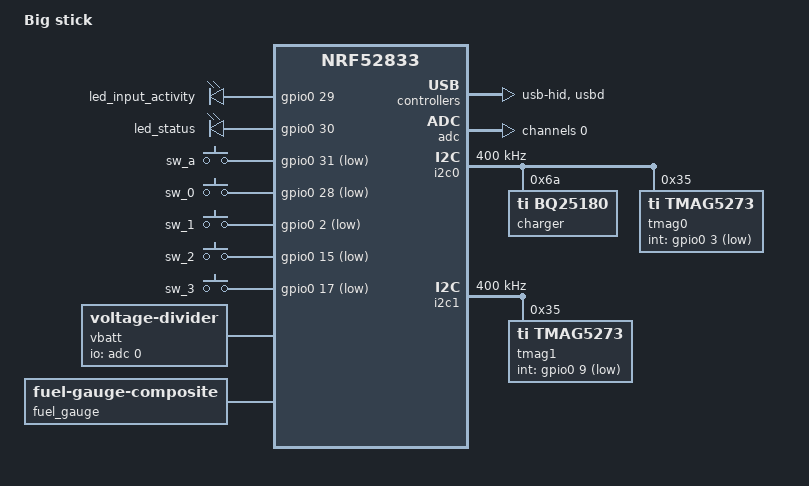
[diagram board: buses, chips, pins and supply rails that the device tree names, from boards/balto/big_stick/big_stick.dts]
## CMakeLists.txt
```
cmake_minimum_required(VERSION 3.20.0)

set(BOARD_ROOT ${CMAKE_CURRENT_LIST_DIR})
set(BOARD kbd_matrix)

find_package(Zephyr REQUIRED HINTS $ENV{ZEPHYR_BASE})
project(zephyr-input-hid)

zephyr_include_directories(include)

target_sources(app PRIVATE
	src/event.c
	src/main.c
	src/panic.c
	src/reboot.c
	src/watchdog.c
)

zephyr_linker_sources(ROM_SECTIONS src/event.ld)

target_sources_ifdef(CONFIG_BT app PRIVATE src/ble.c src/ble_shell.c)

target_sources_ifdef(CONFIG_APP_BAS_FUEL_GAUGE app PRIVATE src/bas_fuel_gauge.c)
target_sources_ifdef(CONFIG_APP_BAS_FUEL_GAUGE_SENSOR app PRIVATE src/bas_fuel_gauge_sensor.c)
target_sources_ifdef(CONFIG_APP_CHARGER app PRIVATE src/charger.c)
target_sources_ifdef(CONFIG_APP_CHARGER_GPIO app PRIVATE src/charger_gpio.c)
target_sources_ifdef(CONFIG_APP_AUTO_POWEROFF app PRIVATE src/auto_poweroff.c)
target_sources_ifdef(CONFIG_INPUT_ANALOG_AXIS app PRIVATE src/analog-axis-shell.c)

target_sources_ifdef(CONFIG_DT_HAS_HID_ENABLED app PRIVATE src/hid.c)
target_sources_ifdef(CONFIG_DT_HAS_HID_KBD_ENABLED app PRIVATE src/hid_kbd.c)
target_sources_ifdef(CONFIG_DT_HAS_HID_MOUSE_ENABLED app PRIVATE src/hid_mouse.c)
target_sources_ifdef(CONFIG_DT_HAS_HID_GAMEPAD_ENABLED app PRIVATE src/hid_gamepad.c)
target_sources_ifdef(CONFIG_DT_HAS_HID_HOG_ENABLED app PRIVATE src/ble_hog.c src/ble_hog_shell.c)
target_sources_ifdef(CONFIG_DT_HAS_USB_HID_ENABLED app PRIVATE src/usb_hid.c)
target_sources_ifdef(CONFIG_DT_HAS_BLE_UNPAIR_ENABLED app PRIVATE src/ble_unpair.c)
target_sources_ifdef(CONFIG_DT_HAS_XINPUT_ENABLED app PRIVATE src/xinput.c)
target_sources_ifdef(CONFIG_DT_HAS_TI_DRV8830_ENABLED app PRIVATE src/drv8830.c)
target_sources_ifdef(CONFIG_DT_HAS_PM_CONTROL_ENABLED app PRIVATE src/pm_control.c)

target_sources_ifdef(CONFIG_USB_DEVICE_STACK_NEXT app PRIVATE src/usbd.c)
```

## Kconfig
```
menu "Application"

config APP_MANUFACTURER_NAME
	string "Manufacturer name"
	default "Zephyr"

config APP_DEVICE_NAME
	string "Device name"
	default "zephyr-input"

config APP_VID
	hex "USB VID"
	default 0x2fe3

config APP_PID
	hex "USB PID"
	default 0x0007

config APP_BAS_FUEL_GAUGE
	bool "BAS fuel gauge support (subsys)"
	default y
	depends on "$(dt_nodelabel_enabled,fuel_gauge)"
	select SENSOR
	select FUEL_GAUGE
	select BT_BAS

config APP_BAS_FUEL_GAUGE_SENSOR
	bool "BAS fuel gauge support (sensor)"
	default y
	depends on "$(dt_nodelabel_enabled,fuel_gauge_sensor)"
	select SENSOR
	select BT_BAS

config APP_CHARGER
	bool "Charger support"
	default y
	depends on "$(dt_nodelabel_enabled,charger)"
	select CHARGER

config APP_CHARGER_GPIO
	bool "GPIO charger support"
	default y
	depends on "$(dt_nodelabel_enabled,charger_gpio)"

config APP_AUTO_POWEROFF
	bool "Auto power-off"
	default y
	depends on "$(dt_nodelabel_enabled,wkup)"
	select POWEROFF
	depends on BT

config APP_USB_REMOTE_WAKEUP
	bool "USB Remote Wakeup"
	depends on USB_DEVICE_STACK_NEXT

config APP_EVT_BLINK_TIMEOUT
	bool "Disable the activity blink after 1 minute"

config APP_BT_EMPTY_AD_BONDED
	bool "Send an empty ad when bonded"
	depends on BT

config APP_BT_DIRECTED_AD
	bool "Send an direct ad if there's only one bond"
	depends on BT

config APP_BT_DISCONNECT_BONDED
	bool "Disconnect unknown peers when fully bonded"
	default y
	depends on BT

if USB_DEVICE_STACK_NEXT

config APP_USB_MAX_POWER
        int "USB bMaxPower (2mA units)"
        default 250
        range 0 250

endif # USB_DEVICE_STACK_NEXT

endmenu

config FUEL_GAUGE_COMPOSITE
	select BT_BAS

configdefault PM_DEVICE_RUNTIME_DEFAULT_ENABLE
	default n

configdefault INPUT_SHELL
	default y

configdefault INPUT_EVENT_DUMP
	default y

configdefault INPUT_SHELL_KBD_MATRIX_STATE
	default y

configdefault I2C_SHELL
	default y

configdefault LED_SHELL
	default y

configdefault SETTINGS_SHELL
	default y

configdefault PM_DEVICE_SHELL
	default y

config SHELL_CMDS
	default n

config SHELL_CMDS_RETURN_VALUE
	default n

config DEVMEM_SHELL
	default n

config LOG_PROCESS_THREAD_SLEEP_MS
	default 100

configdefault MCUMGR_GRP_IMG_ALLOW_ERASE_PENDING
	default y

if BT

config BT_SMP
	default y

config BT_DEVICE_APPEARANCE
	default 964 if DT_HAS_HID_GAMEPAD_ENABLED
	default 961 if DT_HAS_HID_KBD_ENABLED
	default 962 if DT_HAS_HID_MOUSE_ENABLED

config BT_DEVICE_NAME
	default APP_DEVICE_NAME

config BT_PERIPHERAL
	default y

config BT_SETTINGS
	default y

config BT_PERIPHERAL_PREF_MIN_INT
	default 6

config BT_PERIPHERAL_PREF_MAX_INT
	default 6

config BT_PERIPHERAL_PREF_LATENCY
	default 30

config BT_PERIPHERAL_PREF_TIMEOUT
	default 500

config BT_CONN_PARAM_UPDATE_TIMEOUT
	default 1000

config BT_MAX_CONN
	default 1

config BT_MAX_PAIRED
	default 1

config BT_ASSERT
	default n

config BT_DIS_MANUF_NAME_STR
	default APP_MANUFACTURER_NAME

config BT_DIS_PNP_VID
	default APP_VID

config BT_DIS_PNP_PID
	default APP_PID

endif # BT

source "Kconfig.zephyr"
```

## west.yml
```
manifest:
  remotes:
    - name: zephyrproject-rtos
      url-base: https://github.com/zephyrproject-rtos

  projects:
    - name: zephyr
      remote: zephyrproject-rtos
      revision: main
      import:
        name-allowlist:
          - cmsis_6
          - hal_nordic
          - hal_nxp
          - hal_st
          - hal_stm32
          - mbedtls
          - mcuboot
          - segger
          - tf-psa-crypto
          - zcbor
```

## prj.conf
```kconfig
CONFIG_PM_DEVICE=y
CONFIG_PM_DEVICE_RUNTIME=y
CONFIG_GPIO=y
CONFIG_LOG=y
CONFIG_DEBUG_THREAD_INFO=y
CONFIG_COMPILER_TRACK_MACRO_EXPANSION=n
CONFIG_SYSTEM_WORKQUEUE_STACK_SIZE=1280
CONFIG_REBOOT=y
CONFIG_APPLICATION_DEFINED_SYSCALL=y

CONFIG_THREAD_NAME=y

CONFIG_SHELL=y
CONFIG_I2C=y
CONFIG_LED=y
CONFIG_FLASH=y
CONFIG_STREAM_FLASH=y
CONFIG_FLASH_MAP=y
CONFIG_NVS=y
CONFIG_SETTINGS=y
CONFIG_INPUT=y
CONFIG_WATCHDOG=y

CONFIG_INPUT_THREAD_PRIORITY_OVERRIDE=y
CONFIG_INPUT_THREAD_PRIORITY=-2

# Power saving

CONFIG_SERIAL=n
CONFIG_SHELL_BACKEND_SERIAL=n
CONFIG_UART_CONSOLE=n
CONFIG_CONSOLE=n
```

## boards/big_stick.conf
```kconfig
CONFIG_SHELL_BACKEND_RTT=y
CONFIG_SHELL_TAB=y
CONFIG_SHELL_VT100_COMMANDS=y
CONFIG_CONSOLE=y

CONFIG_APP_DEVICE_NAME="BigStick"

CONFIG_BT=y
CONFIG_APP_BT_EMPTY_AD_BONDED=y
CONFIG_USB_DEVICE_STACK=n
CONFIG_USB_DEVICE_STACK_NEXT=y
```

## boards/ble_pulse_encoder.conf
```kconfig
CONFIG_SYSTEM_WORKQUEUE_STACK_SIZE=2048
CONFIG_LOG=n
CONFIG_SHELL_MINIMAL=y
CONFIG_SHELL_VT100_COMMANDS=n

CONFIG_I2C_SHELL=n
CONFIG_INPUT_SHELL=n
CONFIG_LED_SHELL=n
CONFIG_SETTINGS_SHELL=n
CONFIG_PM_DEVICE_SHELL=n

CONFIG_APP_DEVICE_NAME="BLE Pulse Encoder"

CONFIG_BT=y
CONFIG_APP_BT_DISCONNECT_BONDED=n

# MCUmgr

CONFIG_ROM_END_OFFSET=0x2000
CONFIG_MCUBOOT_UPDATE_FOOTER_SIZE=0x2000

CONFIG_MCUBOOT_SIGNATURE_KEY_FILE="../git/zephyr-input-hid/keys/ble-pulse-encoder-key.pem"

CONFIG_ZCBOR=y
CONFIG_MCUMGR=y
CONFIG_BOOTLOADER_MCUBOOT=y
CONFIG_THREAD_MONITOR=y
CONFIG_MCUMGR_GRP_OS=y
CONFIG_MCUMGR_GRP_OS_ECHO=n
CONFIG_MCUMGR_GRP_OS_TASKSTAT=n
CONFIG_MCUMGR_GRP_SHELL=y
CONFIG_SHELL_BACKEND_DUMMY=y
CONFIG_SHELL_BACKEND_DUMMY_BUF_SIZE=1536
CONFIG_MCUBOOT_SHELL=y

CONFIG_MCUMGR_GRP_IMG=y
CONFIG_MCUMGR_GRP_ZBASIC=y
CONFIG_MCUMGR_GRP_ZBASIC_STORAGE_ERASE=y
CONFIG_IMG_MANAGER=y

CONFIG_BT_L2CAP_TX_MTU=498
CONFIG_BT_BUF_ACL_RX_SIZE=502
CONFIG_BT_BUF_ACL_TX_SIZE=502
CONFIG_BT_CTLR_DATA_LENGTH_MAX=251

CONFIG_MCUMGR_TRANSPORT_BT=y
CONFIG_MCUMGR_TRANSPORT_BT_PERM_RW=y
CONFIG_MCUMGR_TRANSPORT_BT_CONN_PARAM_CONTROL=y

CONFIG_MCUMGR_TRANSPORT_BT_REASSEMBLY=y
CONFIG_MCUMGR_TRANSPORT_NETBUF_SIZE=2475
```

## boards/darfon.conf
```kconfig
CONFIG_APP_DEVICE_NAME="ZDarfon"
CONFIG_PWM=y
CONFIG_USB_DEVICE_STACK_NEXT=y
CONFIG_APP_USB_REMOTE_WAKEUP=y
CONFIG_PM_DEVICE_RUNTIME=n
CONFIG_WATCHDOG=n

CONFIG_APP_VID=0x0d62
CONFIG_APP_PID=0x001c
```

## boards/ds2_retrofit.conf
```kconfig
CONFIG_SYSTEM_WORKQUEUE_STACK_SIZE=2048
CONFIG_LOG=n
CONFIG_SHELL_MINIMAL=y
CONFIG_SHELL_VT100_COMMANDS=n

CONFIG_CONSOLE=y
CONFIG_SHELL_BACKEND_RTT=y

CONFIG_I2C_SHELL=n
CONFIG_INPUT_SHELL=n
CONFIG_LED_SHELL=n
CONFIG_SETTINGS_SHELL=n
CONFIG_PM_DEVICE_SHELL=n

CONFIG_APP_DEVICE_NAME="DualShock 2"

CONFIG_PWM=y

CONFIG_BT=y
CONFIG_BT_MAX_PAIRED=2
CONFIG_BT_PERIPHERAL_PREF_MIN_INT=6
CONFIG_BT_PERIPHERAL_PREF_MAX_INT=12
CONFIG_REGULATOR=y

# MCUmgr

#CONFIG_ROM_END_OFFSET=0x2000
#CONFIG_MCUBOOT_UPDATE_FOOTER_SIZE=0x2000
#
#CONFIG_MCUBOOT_SIGNATURE_KEY_FILE="../git/zephyr-input-hid/keys/ds2-retrofit-key.pem"
#
#CONFIG_ZCBOR=y
#CONFIG_MCUMGR=y
#CONFIG_BOOTLOADER_MCUBOOT=y
#CONFIG_THREAD_MONITOR=y
#CONFIG_MCUMGR_GRP_OS=y
#CONFIG_MCUMGR_GRP_OS_ECHO=n
#CONFIG_MCUMGR_GRP_OS_TASKSTAT=n
#CONFIG_MCUMGR_GRP_SHELL=y
#CONFIG_SHELL_BACKEND_DUMMY=y
#CONFIG_SHELL_BACKEND_DUMMY_BUF_SIZE=1536
#CONFIG_MCUBOOT_SHELL=y
#
#CONFIG_MCUMGR_GRP_IMG=y
#CONFIG_MCUMGR_GRP_ZBASIC=y
#CONFIG_MCUMGR_GRP_ZBASIC_STORAGE_ERASE=y
#CONFIG_IMG_MANAGER=y
#
#CONFIG_BT_L2CAP_TX_MTU=498
#CONFIG_BT_BUF_ACL_RX_SIZE=502
#CONFIG_BT_BUF_ACL_TX_SIZE=502
#CONFIG_BT_CTLR_DATA_LENGTH_MAX=251
#
#CONFIG_MCUMGR_TRANSPORT_BT=y
#CONFIG_MCUMGR_TRANSPORT_BT_PERM_RW=y
#CONFIG_MCUMGR_TRANSPORT_BT_CONN_PARAM_CONTROL=y
#
#CONFIG_MCUMGR_TRANSPORT_BT_REASSEMBLY=y
#CONFIG_MCUMGR_TRANSPORT_NETBUF_SIZE=2475
```

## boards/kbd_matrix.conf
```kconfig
CONFIG_SHELL_BACKEND_RTT=y
CONFIG_SHELL_TAB=y
CONFIG_SHELL_VT100_COMMANDS=y
CONFIG_CONSOLE=y

CONFIG_APP_DEVICE_NAME="kbd-matrix"

CONFIG_BT=y
CONFIG_APP_BT_EMPTY_AD_BONDED=y
```

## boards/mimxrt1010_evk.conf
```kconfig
CONFIG_SERIAL=y
CONFIG_SHELL_BACKEND_SERIAL=y
CONFIG_CONSOLE=y
CONFIG_UART_CONSOLE=y

CONFIG_USB_DEVICE_STACK=n
CONFIG_USB_DEVICE_STACK_NEXT=y

#CONFIG_APP_VID=0x045e
#CONFIG_APP_PID=0x028e
```

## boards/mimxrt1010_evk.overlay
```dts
#include <dt-bindings/hid.h>

/ {
	buttons: gpio_keys {
		button-1 {
			zephyr,code = <INPUT_BTN_WEST>;
		};
	};

	aa: analog_axis {
		compatible = "analog-axis";
		poll-period-ms = <1>;
		axis-x {
			io-channels = <&adc1 1>;
			in-min = <90>;
			in-max = <900>;
			in-deadzone = <50>;
			zephyr,axis = <INPUT_ABS_X>;
		};
	};

	hid {
		compatible = "hid";
		input {
			hid-gamepad {
				compatible = "hid-gamepad";
				input = <&buttons &aa>;
				input-id = <1>;
				report = <HID_GAMEPAD_REPORT(1)>;
			};
		};
		output {
			usb-hid {
				compatible = "usb-hid";
				usb-hid-dev = <&hid_dev_0>;
			};
		};
	};

	hid_dev_0: hid_dev_0 {
		compatible = "zephyr,hid-device";
		label = "HID0";
		in-report-size = <16>;
		in-polling-period-us = <125>;
		out-report-size = <8>;
		out-polling-period-us = <5000>;
	};

	xinput0 {
		compatible = "xinput";
		input = <&buttons>;
	};

	pm-control {
		compatible = "pm-control";
		always-on = <&buttons>;
		connect-on = <&buttons>;
	};
};

led_input_activity: &green_led {};

&adc1 {
	#address-cells = <1>;
	#size-cells = <0>;

	channel@1 {
		reg = <1>;
		zephyr,gain = "ADC_GAIN_1";
		zephyr,reference = "ADC_REF_INTERNAL";
		zephyr,acquisition-time = <ADC_ACQ_TIME_DEFAULT>;
		zephyr,resolution = <10>;
	};
};
```

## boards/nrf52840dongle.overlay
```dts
#include <dt-bindings/hid.h>

/ {
	buttons: buttons {
		button_0 {
			zephyr,code = <INPUT_KEY_A>;
		};
	};

	hid {
		compatible = "hid";
		input {
			hid-kbd {
				compatible = "hid-kbd";
				input = <&buttons>;
				input-id = <1>;
				output-id = <1>;
				report = <HID_KBD_REPORT(1, 1)>;
			};
			hid-mouse {
				compatible = "hid-mouse";
				input = <&buttons>;
				input-id = <2>;
				report = <HID_MOUSE_REPORT(2)>;
			};
		};
		output {
			usb-hid {
				compatible = "usb-hid";
				usb-hid-dev = <&hid_dev_0>;
			};
		};
	};

	hid1 {
		compatible = "hid";
		input {
			hid-gamepad {
				compatible = "hid-gamepad";
				input = <&buttons>;
				input-id = <1>;
				report = <HID_GAMEPAD_REPORT(1)>;
			};
		};
		output {
			usb-hid {
				compatible = "usb-hid";
				usb-hid-dev = <&hid_dev_1>;
			};
		};
	};

	hid_dev_0: hid_dev_0 {
		compatible = "zephyr,hid-device";
		label = "HID0";
		protocol-code = "keyboard";
		in-report-size = <16>;
		in-polling-period-us = <2000>;
		out-report-size = <8>;
		out-polling-period-us = <5000>;
	};

	hid_dev_1: hid_dev_1 {
		compatible = "zephyr,hid-device";
		label = "HID1";
		in-report-size = <32>;
		in-polling-period-us = <1000>;
	};

	xinput0 {
		compatible = "xinput";
		input = <&buttons>;
	};

	xinput1 {
		compatible = "xinput";
		input = <&buttons>;
	};

	pm-control {
		compatible = "pm-control";
		always-on = <&buttons>;
		connect-on = <&buttons>;
	};
};

led_input_activity: &led1_red {};
```

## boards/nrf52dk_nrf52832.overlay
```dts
#include <dt-bindings/hid.h>

/ {
	buttons: buttons {
		wkup: button_0 {
			zephyr,code = <INPUT_KEY_A>;
		};
		button_1 {
			zephyr,code = <INPUT_BTN_NORTH>;
		};
		/delete-node/ button_2;
		/delete-node/ button_3;
	};

	buttons_2: buttons2 {
		compatible = "gpio-keys";
		button2: button_2 {
			gpios = <&gpio0 15 (GPIO_PULL_UP | GPIO_ACTIVE_LOW)>;
			zephyr,code = <INPUT_BTN_LEFT>;
		};
		button3: button_3 {
			gpios = <&gpio0 16 (GPIO_PULL_UP | GPIO_ACTIVE_LOW)>;
			zephyr,code = <INPUT_BTN_NORTH>;
		};
	};

	ble-unpair {
		compatible = "ble-unpair";
		key-a = <INPUT_KEY_A>;
		key-b = <INPUT_BTN_LEFT>;
	};

	hid {
		compatible = "hid";
		input {
			hid-kbd {
				compatible = "hid-kbd";
				input = <&buttons>;
				input-id = <1>;
				output-id = <1>;
				report = <HID_KBD_REPORT(1, 1)>;
			};
			hid-mouse {
				compatible = "hid-mouse";
				input = <&buttons_2>;
				input-id = <2>;
				report = <HID_MOUSE_REPORT(2)>;
			};
		};
		output {
			hid-hog {
				compatible = "hid-hog";
			};
		};
	};

	hid2 {
		compatible = "hid";
		input {
			hid-gamepad {
				compatible = "hid-gamepad";
				input = <&buttons>;
				input-id = <1>;
				report = <HID_GAMEPAD_REPORT(1)>;
			};
		};
		output {
			hid-hog-2 {
				compatible = "hid-hog";
			};
		};
	};

	hid3 {
		compatible = "hid";
		input {
			hid-gamepad {
				compatible = "hid-gamepad";
				input = <&buttons_2>;
				input-id = <1>;
				report = <HID_GAMEPAD_REPORT(1)>;
			};
		};
		output {
			hid-hog-3 {
				compatible = "hid-hog";
			};
		};
	};

	pm-control {
		compatible = "pm-control";
		always-on = <&buttons>;
		connect-on = <&buttons_2>;
	};
};

led_status: &led0 {};
led_input_activity: &led1 {};

&i2c0 {
	status = "disabled";
};

&spi2_default {
	group1 {
		psels = <NRF_PSEL(SPIM_SCK, 0, 27)>,
			<NRF_PSEL(SPIM_MOSI, 0, 26)>,
			<NRF_PSEL(SPIM_MISO, 0, 26)>;
	};
};

&spi2_sleep {
	group1 {
		psels = <NRF_PSEL(SPIM_SCK, 0, 27)>,
			<NRF_PSEL(SPIM_MOSI, 0, 26)>,
			<NRF_PSEL(SPIM_MISO, 0, 26)>;
	};
};
```

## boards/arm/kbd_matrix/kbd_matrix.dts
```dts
/dts-v1/;
#include <nordic/nrf52832_qfaa.dtsi>
#include <zephyr/dt-bindings/input/input-event-codes.h>
#include <zephyr/dt-bindings/input/keymap.h>
#include "kbd_matrix-pinctrl.dtsi"

/ {
	model = "kbd-matrix";
	compatible = "balto,kbd-matrix";

	chosen {
		zephyr,console = &uart0;
		zephyr,shell-uart = &uart0;
		zephyr,uart-mcumgr = &uart0;
		zephyr,sram = &sram0;
		zephyr,flash = &flash0;
		zephyr,code-partition = &slot0_partition;
	};

	leds {
		compatible = "gpio-leds";
		led_a {
			gpios = <&gpio0 8 GPIO_ACTIVE_HIGH>;
		};
	};

	kbd-matrix {
		compatible = "gpio-kbd-matrix";
		row-gpios = <&gpio0 14 (GPIO_PULL_UP | GPIO_ACTIVE_LOW)>,
			    <&gpio0 17 (GPIO_PULL_UP | GPIO_ACTIVE_LOW)>,
			    <&gpio0 15 (GPIO_PULL_UP | GPIO_ACTIVE_LOW)>,
			    <&gpio0 11 (GPIO_PULL_UP | GPIO_ACTIVE_LOW)>,
			    <&gpio0  9 (GPIO_PULL_UP | GPIO_ACTIVE_LOW)>;
		/*
		row-gpios = <&pcal6408a 0 (GPIO_PULL_UP | GPIO_ACTIVE_LOW)>,
			    <&pcal6408a 1 (GPIO_PULL_UP | GPIO_ACTIVE_LOW)>,
			    <&pcal6408a 2 (GPIO_PULL_UP | GPIO_ACTIVE_LOW)>,
			    <&pcal6408a 3 (GPIO_PULL_UP | GPIO_ACTIVE_LOW)>,
			    <&pcal6408a 4 (GPIO_PULL_UP | GPIO_ACTIVE_LOW)>;
		*/
		col-gpios = <&gpio0 16 GPIO_ACTIVE_LOW>,
			    <&gpio0 13 GPIO_ACTIVE_LOW>,
			    <&gpio0 12 GPIO_ACTIVE_LOW>,
			    <&gpio0 10 GPIO_ACTIVE_LOW>;
		//col-drive-inactive;
		//idle-mode = "poll";
		//idle-mode = "scan";
		//poll-timeout-ms = <0>;
		no-ghostkey-check;

		keymap: keymap {
			compatible = "input-keymap";
			keymap = <
				MATRIX_KEY(0, 0, INPUT_KEY_A)
				MATRIX_KEY(0, 1, INPUT_KEY_B)
				MATRIX_KEY(0, 2, INPUT_KEY_C)
				MATRIX_KEY(0, 3, INPUT_KEY_D)

				MATRIX_KEY(1, 0, INPUT_KEY_E)
				MATRIX_KEY(1, 1, INPUT_KEY_F)
				MATRIX_KEY(1, 2, INPUT_KEY_G)
				MATRIX_KEY(1, 3, INPUT_KEY_H)

				MATRIX_KEY(2, 0, INPUT_KEY_I)
				MATRIX_KEY(2, 1, INPUT_KEY_J)
				MATRIX_KEY(2, 2, INPUT_KEY_K)
				MATRIX_KEY(2, 3, INPUT_KEY_L)

				MATRIX_KEY(3, 0, INPUT_KEY_M)
				MATRIX_KEY(3, 1, INPUT_KEY_N)
				MATRIX_KEY(3, 2, INPUT_KEY_O)
				MATRIX_KEY(3, 3, INPUT_KEY_P)

				MATRIX_KEY(4, 0, INPUT_KEY_LEFTMETA)
				MATRIX_KEY(4, 1, INPUT_KEY_LEFTCTRL)
				MATRIX_KEY(4, 2, INPUT_KEY_LEFTALT)
				MATRIX_KEY(4, 3, INPUT_KEY_LEFTSHIFT)
			>;
			row-size = <5>;
			col-size = <4>;
		};
	};
};

&uicr {
	nfct-pins-as-gpios;
};

&gpiote {
	status = "okay";
};

&gpio0 {
	status = "okay";
};

&uart0 {
	status = "okay";
	compatible = "nordic,nrf-uarte";
	current-speed = <115200>;
	pinctrl-0 = <&uart0_default>;
	pinctrl-1 = <&uart0_sleep>;
	pinctrl-names = "default", "sleep";
};

&i2c0 {
	compatible = "nordic,nrf-twi";
	status = "okay";
	clock-frequency = <I2C_BITRATE_FAST>;
	pinctrl-0 = <&i2c0_default>;
	pinctrl-1 = <&i2c0_sleep>;
	pinctrl-names = "default", "sleep";

	pcal6408a: pcal6408a@20 {
		compatible = "nxp,pcal6408a";
		status = "okay";
		reg = <0x20>;
		gpio-controller;
		#gpio-cells = <2>;
		ngpios = <8>;
		reset-gpios = <&gpio0 18 GPIO_ACTIVE_LOW>;
		int-gpios = <&gpio0 22 (GPIO_PULL_UP | GPIO_ACTIVE_LOW)>;
	};
};

&flash0 {
	partitions {
		compatible = "fixed-partitions";
		#address-cells = <1>;
		#size-cells = <1>;

		boot_partition: partition@0 {
			label = "mcuboot";
			reg = <0x00000000 0x8000>;
		};
		slot0_partition: partition@8000 {
			label = "image-0";
			reg = <0x00008000 0x3a000>;
		};
		slot1_partition: partition@42000 {
			label = "image-1";
			reg = <0x00042000 0x3a000>;
		};
		storage_partition: partition@7c000 {
			label = "storage";
			reg = <0x0007c000 0x00004000>;
		};
	};
};
```

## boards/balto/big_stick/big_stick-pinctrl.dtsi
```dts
&pinctrl {
	i2c0_default: i2c0_default {
		group1 {
			psels = <NRF_PSEL(TWIM_SCL, 0, 11)>,
				<NRF_PSEL(TWIM_SDA, 0, 5)>;
		};
	};

	i2c0_sleep: i2c0_sleep {
		group1 {
			psels = <NRF_PSEL(TWIM_SCL, 0, 11)>,
				<NRF_PSEL(TWIM_SDA, 0, 5)>;
			low-power-enable;
		};
	};

	i2c1_default: i3c0_default {
		group1 {
			psels = <NRF_PSEL(TWIM_SCL, 0, 20)>,
				<NRF_PSEL(TWIM_SDA, 0, 18)>;
		};
	};

	i2c1_sleep: i2c1_sleep {
		group1 {
			psels = <NRF_PSEL(TWIM_SCL, 0, 20)>,
				<NRF_PSEL(TWIM_SDA, 0, 18)>;
			low-power-enable;
		};
	};
};
```

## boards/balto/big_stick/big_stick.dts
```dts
/dts-v1/;
#include <nordic/nrf52833_qdaa.dtsi>
#include "big_stick-pinctrl.dtsi"
#include <zephyr/dt-bindings/battery/battery.h>
#include <zephyr/dt-bindings/input/input-event-codes.h>
#include <zephyr/dt-bindings/sensor/tmag5273.h>
#include <dt-bindings/hid.h>

/ {
	model = "Big stick";
	compatible = "balto,big-stick";

	chosen {
		zephyr,sram = &sram0;
		zephyr,flash = &flash0;
		zephyr,code-partition = &slot0_partition;
	};

	leds {
		compatible = "gpio-leds";
		led_input_activity: led_b {
			gpios = <&gpio0 29 GPIO_ACTIVE_HIGH>;
		};
		led_status: led_a {
			gpios = <&gpio0 30 GPIO_ACTIVE_HIGH>;
		};
	};

	buttons: buttons {
		compatible = "gpio-keys";
		debounce-interval-ms = <3>;

		sw_a {
			gpios = <&gpio0 31 (GPIO_PULL_UP | GPIO_ACTIVE_LOW)>;
			zephyr,code = <INPUT_BTN_SELECT>;
		};
		sw_0 {
			gpios = <&gpio0 28 (GPIO_PULL_UP | GPIO_ACTIVE_LOW)>;
			zephyr,code = <INPUT_BTN_SOUTH>;
		};
		sw_1 {
			gpios = <&gpio0 2 (GPIO_PULL_UP | GPIO_ACTIVE_LOW)>;
			zephyr,code = <INPUT_BTN_EAST>;
		};
		sw_2 {
			gpios = <&gpio0 15 (GPIO_PULL_UP | GPIO_ACTIVE_LOW)>;
			zephyr,code = <INPUT_BTN_NORTH>;
		};
		sw_3 {
			gpios = <&gpio0 17 (GPIO_PULL_UP | GPIO_ACTIVE_LOW)>;
			zephyr,code = <INPUT_BTN_WEST>;
		};
	};

	vbatt: vbatt {
		compatible = "voltage-divider";
		io-channels = <&adc 0>;
		output-ohms = <(560 * 1000)>;
		full-ohms = <(560 * 1000 * 2)>;
	};

	fuel_gauge: fuel_gauge_composite {
		compatible = "zephyr,fuel-gauge-composite";
		source-primary = <&vbatt>;
		device-chemistry = "lithium-ion-polymer";
		ocv-capacity-table-0 = <BATTERY_OCV_CURVE_LITHIUM_ION_POLYMER_DEFAULT>;
	};

	hid {
		compatible = "hid";
		input {
			hid-gamepad {
				compatible = "hid-gamepad";
				input = <&buttons &tmag0 &tmag1>;
				input-id = <1>;
				report = <HID_GAMEPAD_REPORT(1)>;
			};
		};
		output {
			hid-hog {
				compatible = "hid-hog";
			};
			usb-hid {
				compatible = "usb-hid";
				usb-hid-dev = <&hid_dev_0>;
			};
		};
	};

	hid_dev_0: hid_dev_0 {
		compatible = "zephyr,hid-device";
		label = "HID0";
		in-report-size = <16>;
		in-polling-period-us = <1000>;
	};

	ble-unpair {
		input = <&buttons>;
		compatible = "ble-unpair";
		key-a = <INPUT_BTN_SELECT>;
		key-b = <INPUT_BTN_SOUTH>;
	};

	pm-control {
		compatible = "pm-control";
		always-on = <&buttons>;
		//connect-on = <>;
	};
};

&uicr {
	nfct-pins-as-gpios;
};

&reg1 {
	regulator-initial-mode = <NRF5X_REG_MODE_DCDC>;
};

&adc {
	status = "okay";
	#address-cells = <1>;
	#size-cells = <0>;

	channel@0 {
		reg = <0>;
		zephyr,gain = "ADC_GAIN_1_6";
		zephyr,reference = "ADC_REF_INTERNAL";
		zephyr,acquisition-time = <ADC_ACQ_TIME(ADC_ACQ_TIME_MICROSECONDS, 40)>;
		zephyr,input-positive = <NRF_SAADC_AIN2>;
		zephyr,resolution = <10>;
	};
};

&gpiote {
	status = "okay";
};

&gpio0 {
	status = "okay";
};

&gpio1 {
	status = "okay";
};

&i2c0 {
	status = "okay";
	clock-frequency = <I2C_BITRATE_FAST>;
	pinctrl-0 = <&i2c0_default>;
	pinctrl-1 = <&i2c0_sleep>;
	pinctrl-names = "default", "sleep";

	charger: bq25180@6a {
		compatible = "ti,bq25180";
		reg = <0x6a>;
		constant-charge-current-max-microamp = <500000>;
	};

	tmag0: tmag0@35 {
		compatible = "ti,tmag5273";
		reg = <0x35>;
		int-gpios = <&gpio0 3 GPIO_ACTIVE_LOW>;

		axis = <TMAG5273_DT_AXIS_XY>;
		operation-mode = <TMAG5273_DT_OPER_MODE_CONTINUOUS>;
		angle-magnitude-axis = <TMAG5273_DT_ANGLE_MAG_XY>;
		average-mode = <TMAG5273_DT_AVERAGING_32X>;
	};
};

&i2c1 {
	status = "okay";
	clock-frequency = <I2C_BITRATE_FAST>;
	pinctrl-0 = <&i2c1_default>;
	pinctrl-1 = <&i2c1_sleep>;
	pinctrl-names = "default", "sleep";

	tmag1: tmag0@35 {
		compatible = "ti,tmag5273";
		reg = <0x35>;
		int-gpios = <&gpio0 9 GPIO_ACTIVE_LOW>;

		axis = <TMAG5273_DT_AXIS_XY>;
		operation-mode = <TMAG5273_DT_OPER_MODE_CONTINUOUS>;
		angle-magnitude-axis = <TMAG5273_DT_ANGLE_MAG_XY>;
		average-mode = <TMAG5273_DT_AVERAGING_32X>;
	};
};

&flash0 {
	partitions {
		#address-cells = <1>;
		#size-cells = <1>;
		ranges;

		boot_partition: partition@0 {
			compatible = "zephyr,mapped-partition";
			label = "mcuboot";
			reg = <0x00000000 0xC000>;
		};
		slot0_partition: partition@c000 {
			compatible = "zephyr,mapped-partition";
			label = "image-0";
			reg = <0x0000C000 0x37000>;
		};
		slot1_partition: partition@43000 {
			compatible = "zephyr,mapped-partition";
			label = "image-1";
			reg = <0x00043000 0x37000>;
		};
		storage_partition: partition@7a000 {
			compatible = "zephyr,mapped-partition";
			label = "storage";
			reg = <0x0007A000 0x00006000>;
		};
	};
};

zephyr_udc0: &usbd {
	compatible = "nordic,nrf-usbd";
	status = "okay";
};
```

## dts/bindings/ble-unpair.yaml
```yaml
description: BLE unpair hotkey

compatible: ble-unpair

properties:
  input:
    type: phandle

  key-a:
    type: int
    required: true

  key-b:
    type: int
    required: true
```

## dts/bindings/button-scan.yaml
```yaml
description: Button scan device

compatible: "button-scan"

include: base.yaml

properties:
  group1-gpios:
    type: phandle-array
    required: true

  group2-gpios:
    type: phandle-array
    required: true

  group-delay-ms:
    type: int
    required: true

  input-delay-us:
    type: int
    required: true

  input-gpios:
    type: phandle-array
    required: true

  pwms:
    type: phandle-array
    required: true

  pulse-group1-pct:
    type: int
    required: true

  pulse-group2-pct:
    type: int
    required: true

  codes-group1:
    type: array
    required: true

  codes-group2:
    type: array
    required: true
```

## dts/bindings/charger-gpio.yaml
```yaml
description: GPIO charger state

compatible: charger-gpio

properties:
  gpios:
    type: phandle-array
```

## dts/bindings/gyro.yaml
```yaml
description: Touch sense

compatible: gyro

properties:
  imu-l:
    type: phandle

  imu-r:
    type: phandle
```

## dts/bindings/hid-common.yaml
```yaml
description: Common hid device binding

include: base.yaml

on-bus: hid

properties:
  report:
    type: array
    required: true

  input-id:
    type: array

  output-id:
    type: array

  feature-id:
    type: array

  input:
    type: phandles
```

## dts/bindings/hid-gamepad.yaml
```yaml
description: HID gamepad node

compatible: "hid-gamepad"

include: hid-common.yaml
```

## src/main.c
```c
#include <zephyr/drivers/led.h>
#include <zephyr/input/input.h>
#include <zephyr/kernel.h>
#include <zephyr/logging/log.h>

#include "event.h"

LOG_MODULE_REGISTER(main, LOG_LEVEL_INF);

static struct k_sem blink_sem = Z_SEM_INITIALIZER(blink_sem, 0, 4);

#define BLINKER_NODE DT_NODELABEL(led_input_activity)
#define STATUS_NODE DT_NODELABEL(led_status)

static const struct led_dt_spec activity_led = LED_DT_SPEC_GET_OR(BLINKER_NODE, {0});
static const struct led_dt_spec status_led = LED_DT_SPEC_GET_OR(STATUS_NODE, {0});

#define BLINKER_QUEUE_SZ 10

K_MSGQ_DEFINE(blinker_msgq, sizeof(enum event_code), BLINKER_QUEUE_SZ, 4);

static bool led_invert;

static void led_status(bool on)
{
	if (!led_is_ready_dt(&status_led)) {
		return;
	}

	if (on) {
		led_set_brightness_dt(&status_led,
				      (activity_led.dev == NULL && led_invert) ? 0 : 100);
	} else {
		led_set_brightness_dt(&status_led,
				      (activity_led.dev == NULL && led_invert) ? 100 : 0);
	}
}

static void led_activity(bool on)
{
	if (!led_is_ready_dt(&activity_led)) {
		led_status(on);
		return;
	}

	if (on) {
		led_set_brightness_dt(&activity_led, led_invert ? 0 : 100);
	} else {
		led_set_brightness_dt(&activity_led, led_invert ? 100 : 0);
	}
}

int main(void)
{
	enum event_code code;
	int ret;

	event(EVENT_BOOT);

	while (true) {
		ret = k_msgq_get(&blinker_msgq, &code, K_FOREVER);
		if (ret) {
			LOG_ERR("k_msgq_get error: %d", ret);
			continue;
		}

		if (!led_is_ready_dt(&status_led) && !led_is_ready_dt(&activity_led)) {
			continue;
		}

		switch (code) {
		case EVENT_BOOT:
			led_status(true);
			k_sleep(K_MSEC(100));
			led_status(false);
			break;
		case EVENT_BT_CONNECTED:
			led_status(true);
			k_sleep(K_MSEC(100));
			led_status(false);
			k_sleep(K_MSEC(150));
			led_status(true);
			k_sleep(K_MSEC(100));
			led_status(false);
			k_sleep(K_MSEC(150));
			led_status(true);
			k_sleep(K_MSEC(100));
			led_status(false);
			break;
		case EVENT_BT_DISCONNECTED:
			led_status(true);
			k_sleep(K_MSEC(300));
			led_status(false);
			break;
		case EVENT_BT_UNPAIRED:
			led_status(true);
			k_sleep(K_SECONDS(3));
			led_status(false);
			break;
		case EVENT_INPUT:
			led_activity(true);
			k_sleep(K_MSEC(30));
			led_activity(false);
			k_sleep(K_MSEC(30));
			break;
		case EVENT_POWEROFF:
			led_status(true);
			k_sleep(K_SECONDS(1));
			led_status(false);
			k_sleep(K_MSEC(200));
			led_status(true);
			k_sleep(K_MSEC(50));
			led_status(false);
			k_sleep(K_MSEC(200));
			led_status(true);
			k_sleep(K_MSEC(50));
			led_status(false);
			break;
		case EVENT_CHARGER_CHARGING:
		case EVENT_CHARGER_FULL:
		case EVENT_CHARGER_DISCONNECTED:
			led_activity(false);
			break;
		default:
			break;
		}
	}

	return 0;
}

static void charger_cb(enum event_code code)
{
	switch (code) {
		case EVENT_CHARGER_CHARGING:
			led_invert = true;
			break;
		case EVENT_CHARGER_FULL:
		case EVENT_CHARGER_DISCONNECTED:
			led_invert = false;
			break;
		default:
			break;
	}
}
EVENT_CALLBACK_DEFINE(charger_cb);

static void blinker_cb(enum event_code code)
{
	int ret;

	ret = k_msgq_put(&blinker_msgq, &code, K_NO_WAIT);
	if (ret != 0) {
		LOG_DBG("blinker queue full");
	}

	LOG_DBG("event %d", code);
}
EVENT_CALLBACK_DEFINE(blinker_cb);

static void blink_input_cb(struct input_event *evt, void *user_data)
{
#if CONFIG_APP_EVT_BLINK_TIMEOUT
	if (k_uptime_get() > 60 * 1000) {
		return;
	}
#endif

	if (!evt->sync) {
		return;
	}

	event(EVENT_INPUT);
}
INPUT_CALLBACK_DEFINE(NULL, blink_input_cb, NULL);
```

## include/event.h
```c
enum event_code {
	EVENT_BOOT,
	EVENT_INPUT,
	EVENT_BT_CONNECTED,
	EVENT_BT_DISCONNECTED,
	EVENT_BT_UNPAIRED,
	EVENT_USB_CONNECTED,
	EVENT_USB_DISCONNECTED,
	EVENT_USB_RESET,
	EVENT_CHARGER_CHARGING,
	EVENT_CHARGER_FULL,
	EVENT_CHARGER_DISCONNECTED,
	EVENT_POWEROFF,
};

struct event_callback {
	void (*callback)(enum event_code);
};

void event(enum event_code code);

#define EVENT_CALLBACK_DEFINE(_callback)					\
	static const STRUCT_SECTION_ITERABLE(event_callback,			\
					     _event_callback__##_callback) = {	\
		.callback = _callback,						\
        }
```

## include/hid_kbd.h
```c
#include <zephyr/device.h>
#include <stdint.h>

typedef void (*hid_kbd_led_cb)(const struct device *dev, uint8_t state);

void hid_kbd_register_led_cb(const struct device *dev, hid_kbd_led_cb cb);
```

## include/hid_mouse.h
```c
#include <zephyr/device.h>
#include <stdint.h>

typedef int (*hid_mouse_feat_cb)(const struct device *dev,
				 uint8_t report_id, const uint8_t *buf, uint8_t len);

void hid_mouse_register_feat_cb(const struct device *dev, hid_mouse_feat_cb cb);

void hid_mouse_wheel_debounce_set(const struct device *dev, bool enabled);
```

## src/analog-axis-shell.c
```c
#include <zephyr/device.h>
#include <zephyr/input/input_analog_axis.h>
#include <zephyr/input/input_analog_axis_settings.h>
#include <zephyr/kernel.h>
#include <zephyr/logging/log.h>
#include <zephyr/shell/shell.h>
#include <zephyr/sys/atomic.h>
#include <zephyr/sys/util.h>

LOG_MODULE_REGISTER(aa_shell, LOG_LEVEL_INF);

#define MAX_AXIS 6
#define DEADZONE_PCT 5

static struct {
	int16_t min;
	int16_t max;
	int16_t last;
	bool valid;
} cal_data[MAX_AXIS];

static void cal_cb(const struct device *dev, int channel, int16_t raw_val)
{
	static uint32_t last_ts;

	if (channel >= MAX_AXIS) {
		LOG_WRN("invalid channel %d", channel);
		return;
	}

	if (raw_val > cal_data[channel].max) {
		cal_data[channel].max = raw_val;
	}

	if (raw_val < cal_data[channel].min) {
		cal_data[channel].min = raw_val;
	}

	cal_data[channel].last = raw_val;
	cal_data[channel].valid = true;

	if (k_uptime_get_32() - last_ts < 500) {
		return;
	}

	LOG_INF("%s: last data", dev->name);
	for (uint8_t i = 0; i < MAX_AXIS; i++) {
		if (!cal_data[i].valid) {
			continue;
		}

		LOG_INF("chan=%d min=%d max=%d last=%d valid=%d",
			i,
			cal_data[i].min,
			cal_data[i].max,
			cal_data[i].last,
			cal_data[i].valid);
	}

	last_ts = k_uptime_get_32();
}

static void update_cal(const struct device *dev, int channel)
{
	struct analog_axis_calibration cal;
	int16_t range;
	int16_t deadzone;
	int ret;

	if (!cal_data[channel].valid) {
		return;
	}

	ret = analog_axis_calibration_get(dev, channel, &cal);
	if (ret < 0) {
		LOG_WRN("calibration get error: %d", ret);
		return;
	}

	range = cal_data[channel].max - cal_data[channel].min;
	deadzone = range * DEADZONE_PCT / 100;

	if (cal.in_deadzone != 0) {
		cal.in_deadzone = deadzone;
	}
	cal.in_min = cal_data[channel].min + deadzone;
	cal.in_max = cal_data[channel].max - deadzone;

	LOG_INF("new settings: chan=%d min=%d max=%d deadzone=%d",
		channel,
		cal.in_min, cal.in_max, cal.in_deadzone);

	ret = analog_axis_calibration_set(dev, channel, &cal);
	if (ret < 0) {
		LOG_ERR("calibration set error: %d", ret);
		return;
	}
}

static int cmd_analog_axis_cal(const struct shell *sh, size_t argc, char **argv)
{
	const struct device *dev;
	bool start;
	int err = 0;

	dev = device_get_binding(argv[1]);
	if (dev == NULL) {
		shell_error(sh, "Device %s not available", argv[1]);
		return -ENODEV;
	}

	start = shell_strtobool(argv[2], 0, &err);
	if (err) {
		shell_error(sh, "Invalid argument: %s", argv[2]);
		return err;
	}

	if (start) {
		for (uint8_t i = 0; i < MAX_AXIS; i++) {
			cal_data[i].min = INT16_MAX;
			cal_data[i].max = INT16_MIN;
			cal_data[i].valid = false;
		}

		analog_axis_set_raw_data_cb(dev, cal_cb);
	} else {
		analog_axis_set_raw_data_cb(dev, NULL);

		for (uint8_t i = 0; i < MAX_AXIS; i++) {
			update_cal(dev, i);
		}
	}

	return 0;
}

static void raw_print_cb(const struct device *dev, int channel, int16_t raw_val)
{
	LOG_INF("%s: chan=%d val=%d", dev->name, channel, raw_val);
}

static int cmd_analog_axis_raw_print(const struct shell *sh, size_t argc, char **argv)
{
	const struct device *dev;
	bool enable;
	int err = 0;

	dev = device_get_binding(argv[1]);
	if (dev == NULL) {
		shell_error(sh, "Device %s not available", argv[1]);
		return -ENODEV;
	}

	enable = shell_strtobool(argv[2], 0, &err);
	if (err) {
		shell_error(sh, "Invalid argument: %s", argv[2]);
		return err;
	}

	if (enable) {
		analog_axis_set_raw_data_cb(dev, raw_print_cb);
	} else {
		analog_axis_set_raw_data_cb(dev, NULL);
	}

	return 0;
}

static int cmd_analog_axis_calibration_set(const struct shell *sh, size_t argc, char **argv)
{
	const struct device *dev;
	struct analog_axis_calibration cal;
	int chan;
	int err = 0;
	int16_t in_min;
	int16_t in_max;
	int16_t in_deadzone;

	dev = device_get_binding(argv[1]);
	if (dev == NULL) {
		shell_error(sh, "Device %s not available", argv[1]);
		return -ENODEV;
	}

	chan = shell_strtoul(argv[2], 0, &err);
	if (err) {
		shell_error(sh, "Invalid argument: %s", argv[2]);
		return err;
	}

	in_min = shell_strtoul(argv[3], 0, &err);
	if (err) {
		shell_error(sh, "Invalid argument: %s", argv[3]);
		return err;
	}

	in_max = shell_strtoul(argv[4], 0, &err);
	if (err) {
		shell_error(sh, "Invalid argument: %s", argv[4]);
		return err;
	}

	in_deadzone = shell_strtoul(argv[5], 0, &err);
	if (err) {
		shell_error(sh, "Invalid argument: %s", argv[4]);
		return err;
	}

	err = analog_axis_calibration_get(dev, chan, &cal);

	cal.in_min = in_min;
	cal.in_max = in_max;
	cal.in_deadzone = in_deadzone;
	LOG_INF("min=%d max=%d deadzone=%d", cal.in_min, cal.in_max, cal.in_deadzone);

	err = analog_axis_calibration_set(dev, chan, &cal);
	if (err < 0) {
		shell_error(sh, "calibration set error: %d", err);
		return err;
	}

	return 0;
}

static int cmd_analog_axis_calibration_get(const struct shell *sh, size_t argc, char **argv)
{
	const struct device *dev;
	struct analog_axis_calibration cal;
	int ret;

	dev = device_get_binding(argv[1]);
	if (dev == NULL) {
		shell_error(sh, "Device %s not available", argv[1]);
		return -ENODEV;
	}

	for (uint8_t i = 0; i < 16; i++) {
		ret = analog_axis_calibration_get(dev, i, &cal);
		if (ret < 0) {
			return 0;
		}

		LOG_INF("%s: chan=%d min=%d max=%d deadzone=%d",
			dev->name,
			i,
			cal.in_min, cal.in_max, cal.in_deadzone);
	}

	return 0;
}

static int cmd_analog_axis_calibration_save(const struct shell *sh, size_t argc, char **argv)
{
	const struct device *dev;

	dev = device_get_binding(argv[1]);
	if (dev == NULL) {
		shell_error(sh, "Device %s not available", argv[1]);
		return -ENODEV;
	}

	analog_axis_calibration_save(dev);

	return 0;
}

static void device_name_get(size_t idx, struct shell_static_entry *entry)
{
	const struct device *dev = shell_device_lookup(idx, NULL);

	entry->syntax = (dev != NULL) ? dev->name : NULL;
	entry->handler = NULL;
	entry->help = NULL;
	entry->subcmd = NULL;
}

SHELL_DYNAMIC_CMD_CREATE(dsub_device_name, device_name_get);

SHELL_STATIC_SUBCMD_SET_CREATE(sub_analog_axis_cmds,
       SHELL_CMD_ARG(cal, &dsub_device_name, "cal on|off",
                     cmd_analog_axis_cal, 3, 0),
       SHELL_CMD_ARG(raw_print, &dsub_device_name, "raw_print on|off",
                     cmd_analog_axis_raw_print, 3, 0),
       SHELL_CMD_ARG(cal_set, &dsub_device_name, "cal_set CHAN IN_MIN IN_MAX IN_DEADZONE",
                     cmd_analog_axis_calibration_set, 6, 0),
       SHELL_CMD_ARG(cal_get, &dsub_device_name, "cal_get",
                     cmd_analog_axis_calibration_get, 2, 0),
       SHELL_CMD_ARG(cal_save, &dsub_device_name, "cal_save",
                     cmd_analog_axis_calibration_save, 2, 0),
       SHELL_SUBCMD_SET_END);

SHELL_CMD_REGISTER(analog_axis, &sub_analog_axis_cmds, "Analog axis commands", NULL);
```

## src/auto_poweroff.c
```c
#include <zephyr/bluetooth/bluetooth.h>
#include <zephyr/drivers/gpio.h>
#include <zephyr/drivers/regulator.h>
#include <zephyr/input/input.h>
#include <zephyr/kernel.h>
#include <zephyr/logging/log.h>
#include <zephyr/sys/poweroff.h>

#include "ble.h"
#include "event.h"

LOG_MODULE_REGISTER(auto_poweroff, LOG_LEVEL_INF);

#define AUTO_POWEROFF_TIME K_SECONDS(60 * 15)

static const struct gpio_dt_spec wkup = GPIO_DT_SPEC_GET(DT_NODELABEL(wkup), gpios);

static const struct device *analog_pwr = DEVICE_DT_GET_OR_NULL(DT_NODELABEL(analog_pwr));

#if CONFIG_DT_HAS_SUSPEND_GPIOS_ENABLED
#define SUSPEND_GPIOS_NODE DT_COMPAT_GET_ANY_STATUS_OKAY(suspend_gpios)
static const struct gpio_dt_spec suspend_gpio_specs[] = {
	DT_FOREACH_PROP_ELEM_SEP(SUSPEND_GPIOS_NODE, gpios,
				 GPIO_DT_SPEC_GET_BY_IDX, (,))
};

static void suspend_gpios(void)
{
	int ret;

	for (int i = 0; i < ARRAY_SIZE(suspend_gpio_specs); i++) {
		ret = gpio_pin_configure_dt(&suspend_gpio_specs[i], GPIO_INPUT);
		if (ret != 0) {
			LOG_ERR("Pin %d configuration failed: %d", i, ret);
			return;
		}
	}
}
#else
static void suspend_gpios(void)
{
}
#endif

static void auto_poweroff_handler(struct k_work *work)
{
	LOG_INF("auto poweroff");

	ble_stop();

	k_sleep(K_SECONDS(1));

	event(EVENT_POWEROFF);

	k_sleep(K_SECONDS(2));

	suspend_gpios();

	if (analog_pwr != NULL) {
		regulator_disable(analog_pwr);
	}

	gpio_pin_configure_dt(&wkup, GPIO_INPUT);
	gpio_pin_interrupt_configure_dt(&wkup, GPIO_INT_LEVEL_ACTIVE);

	sys_poweroff();
}

static K_WORK_DELAYABLE_DEFINE(auto_poweroff_dwork, auto_poweroff_handler);

static bool auto_poweroff_hold;

static void auto_poweroff_cb(struct input_event *evt, void *user_data)
{
	if (evt->type == INPUT_EV_ABS) {
		return;
	}

	if (auto_poweroff_hold) {
		return;
	}

	k_work_reschedule(&auto_poweroff_dwork, AUTO_POWEROFF_TIME);
}
INPUT_CALLBACK_DEFINE(NULL, auto_poweroff_cb, NULL);

static int auto_poweroff_init(void)
{
	k_work_reschedule(&auto_poweroff_dwork, AUTO_POWEROFF_TIME);

	return 0;
}
SYS_INIT(auto_poweroff_init, APPLICATION, 99);

static void auto_poweroff_ev_cb(enum event_code code)
{

	switch (code) {
	case EVENT_CHARGER_CHARGING:
		auto_poweroff_hold = true;
		k_work_cancel_delayable(&auto_poweroff_dwork);
		break;
	case EVENT_CHARGER_FULL:
	case EVENT_CHARGER_DISCONNECTED:
		auto_poweroff_hold = false;
		k_work_reschedule(&auto_poweroff_dwork, AUTO_POWEROFF_TIME);
		break;
	default:
		break;
	}
}
EVENT_CALLBACK_DEFINE(auto_poweroff_ev_cb);
```

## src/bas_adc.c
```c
#include <zephyr/bluetooth/services/bas.h>
#include <zephyr/device.h>
#include <zephyr/drivers/fuel_gauge.h>
#include <zephyr/init.h>
#include <zephyr/kernel.h>
#include <zephyr/logging/log.h>

LOG_MODULE_REGISTER(bas_adc, LOG_LEVEL_INF);

#define SOC_UPDATE_SECS 10

static const struct device *fuel_gauge = DEVICE_DT_GET_ONE(zephyr_fuel_gauge_composite);

static void bas_adc_handler(struct k_work *work);

K_WORK_DELAYABLE_DEFINE(bas_adc_work, bas_adc_handler);

static void bas_adc_handler(struct k_work *work)
{
	union fuel_gauge_prop_val val1;
	union fuel_gauge_prop_val val2;

	fuel_gauge_get_prop(fuel_gauge, FUEL_GAUGE_RELATIVE_STATE_OF_CHARGE, &val1);
	fuel_gauge_get_prop(fuel_gauge, FUEL_GAUGE_VOLTAGE, &val2);

	LOG_INF("vbatt_mv=%d soc=%d", val2.voltage / 1000, val1.relative_state_of_charge);

	bt_bas_set_battery_level(val1.relative_state_of_charge);

	k_work_schedule(&bas_adc_work, K_SECONDS(SOC_UPDATE_SECS));
}

static int bas_soc_adc_init(void)
{
	if (!device_is_ready(fuel_gauge)) {
		LOG_ERR("fuel gauge device is not ready");
		return -ENODEV;
	}

	bas_adc_handler(&bas_adc_work.work);

	return 0;
}
SYS_INIT(bas_soc_adc_init, APPLICATION, 91);
```

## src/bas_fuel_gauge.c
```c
#include <zephyr/bluetooth/services/bas.h>
#include <zephyr/device.h>
#include <zephyr/drivers/fuel_gauge.h>
#include <zephyr/init.h>
#include <zephyr/kernel.h>
#include <zephyr/logging/log.h>

LOG_MODULE_REGISTER(bas_fuel_gauge, LOG_LEVEL_INF);

#define SOC_UPDATE_SECS 10

static const struct device *fuel_gauge = DEVICE_DT_GET(DT_NODELABEL(fuel_gauge));

static void bas_fuel_gauge_handler(struct k_work *work);

static K_WORK_DELAYABLE_DEFINE(fuel_gauge_dwork, bas_fuel_gauge_handler);

static void bas_fuel_gauge_handler(struct k_work *work)
{
	union fuel_gauge_prop_val val1;
	union fuel_gauge_prop_val val2;
	int ret;

	ret = fuel_gauge_get_prop(fuel_gauge, FUEL_GAUGE_RELATIVE_STATE_OF_CHARGE_PCT, &val1);
	if (ret < 0) {
		LOG_ERR("get_prop error: %d", ret);
		goto out;
	}

	ret = fuel_gauge_get_prop(fuel_gauge, FUEL_GAUGE_VOLTAGE_UV, &val2);
	if (ret < 0) {
		LOG_ERR("get_prop error: %d", ret);
		goto out;
	}

	LOG_DBG("vbatt_mv=%d soc=%d", val2.voltage_uv / 1000, val1.relative_state_of_charge_pct);

	bt_bas_set_battery_level(val1.relative_state_of_charge_pct);

out:
	k_work_schedule(&fuel_gauge_dwork, K_SECONDS(SOC_UPDATE_SECS));
}

static int bas_fuel_gauge_init(void)
{
	if (!device_is_ready(fuel_gauge)) {
		LOG_ERR("fuel gauge device is not ready");
		return -ENODEV;
	}

	bas_fuel_gauge_handler(&fuel_gauge_dwork.work);

	return 0;
}
SYS_INIT(bas_fuel_gauge_init, APPLICATION, 91);
```

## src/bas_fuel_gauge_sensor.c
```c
#include <zephyr/bluetooth/services/bas.h>
#include <zephyr/device.h>
#include <zephyr/drivers/sensor.h>
#include <zephyr/init.h>
#include <zephyr/kernel.h>
#include <zephyr/logging/log.h>

LOG_MODULE_REGISTER(bas_fuel_gauge, LOG_LEVEL_INF);

#define SOC_UPDATE_SECS 10

static const struct device *fuel_gauge = DEVICE_DT_GET(DT_NODELABEL(fuel_gauge_sensor));

static void bas_fuel_gauge_handler(struct k_work *work);

static K_WORK_DELAYABLE_DEFINE(fuel_gauge_dwork, bas_fuel_gauge_handler);

static void bas_fuel_gauge_handler(struct k_work *work)
{
	struct sensor_value val;
	int ret;

	ret = sensor_sample_fetch_chan(fuel_gauge, SENSOR_CHAN_GAUGE_STATE_OF_CHARGE);
	if (ret < 0) {
		LOG_ERR("sample_fetch error: %d", ret);
		goto out;
	}

	ret = sensor_channel_get(fuel_gauge, SENSOR_CHAN_GAUGE_STATE_OF_CHARGE, &val);
	if (ret < 0) {
		LOG_ERR("channel_get error: %d", ret);
		goto out;
	}

	LOG_DBG("soc: %d", val.val1);

	bt_bas_set_battery_level(val.val1);

out:
	k_work_schedule(&fuel_gauge_dwork, K_SECONDS(SOC_UPDATE_SECS));
}

static int bas_fuel_gauge_init(void)
{
	if (!device_is_ready(fuel_gauge)) {
		LOG_ERR("fuel gauge device is not ready");
		return -ENODEV;
	}

	bas_fuel_gauge_handler(&fuel_gauge_dwork.work);

	return 0;
}
SYS_INIT(bas_fuel_gauge_init, APPLICATION, 91);
```

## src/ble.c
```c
#include <zephyr/bluetooth/bluetooth.h>
#include <zephyr/bluetooth/conn.h>
#include <zephyr/bluetooth/hci.h>
#include <zephyr/bluetooth/uuid.h>
#include <zephyr/init.h>
#include <zephyr/kernel.h>
#include <zephyr/logging/log.h>
#include <zephyr/settings/settings.h>

#include "event.h"

LOG_MODULE_REGISTER(ble, LOG_LEVEL_INF);

#define DEVICE_NAME     CONFIG_BT_DEVICE_NAME
#define DEVICE_NAME_LEN (sizeof(DEVICE_NAME) - 1)

static const struct bt_data ad[] = {
	BT_DATA_BYTES(BT_DATA_FLAGS, (BT_LE_AD_GENERAL | BT_LE_AD_NO_BREDR)),
	BT_DATA_BYTES(BT_DATA_GAP_APPEARANCE,
		      CONFIG_BT_DEVICE_APPEARANCE & 0xff,
		      (CONFIG_BT_DEVICE_APPEARANCE >> 8) & 0xff),
	BT_DATA_BYTES(BT_DATA_UUID16_ALL,
		      BT_UUID_16_ENCODE(BT_UUID_HIDS_VAL)),
	BT_DATA(BT_DATA_NAME_COMPLETE, DEVICE_NAME, DEVICE_NAME_LEN),
};

static const struct bt_le_adv_param ad_param = BT_LE_ADV_PARAM_INIT(
		BT_LE_ADV_OPT_CONN,
		BT_GAP_ADV_SLOW_INT_MIN, BT_GAP_ADV_SLOW_INT_MAX, NULL);

static bt_addr_le_t bond_addr;
static const struct bt_le_adv_param bond_ad_param = BT_LE_ADV_PARAM_INIT(
		BT_LE_ADV_OPT_CONN | BT_LE_ADV_OPT_DIR_MODE_LOW_DUTY,
		BT_GAP_ADV_FAST_INT_MIN_2, BT_GAP_ADV_FAST_INT_MAX_2,
		&bond_addr);

struct conn_bonded_arg {
	const bt_addr_le_t *addr;
	bool found;
};

static void bond_match(const struct bt_bond_info *info, void *user_data)
{
	struct conn_bonded_arg *arg = user_data;
	const bt_addr_le_t *addr = &info->addr;

	if (!bt_addr_le_eq(addr, arg->addr)) {
		return;
	}

	arg->found = true;
}

static void bond_count(const struct bt_bond_info *info, void *user_data)
{
	int *count = user_data;

	(*count)++;

	bt_addr_le_copy(&bond_addr, &info->addr);
}

static void connected(struct bt_conn *conn, uint8_t err)
{
	char addr[BT_ADDR_LE_STR_LEN];
	int count = 0;
	int ret;

	event(EVENT_BT_CONNECTED);

	bt_addr_le_to_str(bt_conn_get_dst(conn), addr, sizeof(addr));

	LOG_INF("connected: %s", addr);

	bt_foreach_bond(BT_ID_DEFAULT, bond_count, &count);

	if (IS_ENABLED(CONFIG_APP_BT_DISCONNECT_BONDED) &&
	    CONFIG_BT_MAX_PAIRED == count) {
		struct conn_bonded_arg arg;

		arg.addr = bt_conn_get_dst(conn);
		arg.found = false;
		bt_foreach_bond(BT_ID_DEFAULT, bond_match, &arg);

		if (!arg.found) {
			LOG_INF("fully bonded, go away");

			bt_conn_disconnect(conn, BT_HCI_ERR_REMOTE_USER_TERM_CONN);
			return;
		} else {
			LOG_INF("bonded peer");
		}
	}

	ret = bt_conn_set_security(conn, BT_SECURITY_L2);
	if (ret) {
		LOG_WRN("Failed to set security");
	}
}

static void disconnected(struct bt_conn *conn, uint8_t reason)
{
	event(EVENT_BT_DISCONNECTED);
}

static void adv_work_handler(struct k_work *work)
{
	int ret;
	int count = 0;

	bt_foreach_bond(BT_ID_DEFAULT, bond_count, &count);

	if (!IS_ENABLED(CONFIG_APP_BT_EMPTY_AD_BONDED)) {
		ret = bt_le_adv_start(&ad_param, ad, ARRAY_SIZE(ad), NULL, 0);
	} else if (CONFIG_BT_MAX_PAIRED == 1 &&
		   IS_ENABLED(CONFIG_APP_BT_DIRECTED_AD) && count == 1) {
		LOG_INF("one bond, directed ad");
		ret = bt_le_adv_start(&bond_ad_param, NULL, 0, NULL, 0);
	} else if (count == CONFIG_BT_MAX_PAIRED) {
		LOG_INF("bonds full, empty ad");
		ret = bt_le_adv_start(&ad_param, NULL, 0, NULL, 0);
	} else {
		LOG_INF("bondable, normal ad");
		ret = bt_le_adv_start(&ad_param, ad, ARRAY_SIZE(ad), NULL, 0);
	}
	if (ret) {
		LOG_ERR("bt_le_adv_start failed: %d", ret);
		return;
	}
}
K_WORK_DEFINE(adv_work, adv_work_handler);

static void unpair_cb(enum event_code code)
{
	int ret;

	if (code != EVENT_BT_UNPAIRED) {
		return;
	}

	ret = bt_unpair(BT_ID_DEFAULT, NULL);
	if (ret) {
		LOG_ERR("Failed to clear pairings ret=%d", ret);
		return;
	}

	LOG_INF("All bonds cleared");

	bt_le_adv_stop();

	k_work_submit(&adv_work);
}
EVENT_CALLBACK_DEFINE(unpair_cb);

static void recycled(void)
{
	k_work_submit(&adv_work);
}

BT_CONN_CB_DEFINE(conn_callbacks) = {
	.connected = connected,
	.disconnected = disconnected,
	.recycled = recycled,
};

static void ble_disconnect(struct bt_conn *conn, void *user_data)
{
	int err;

	err = bt_conn_disconnect(conn, BT_HCI_ERR_REMOTE_POWER_OFF);
	if (err) {
		LOG_ERR("bt_conn_disconnect: %d", err);
	}
}

void ble_stop(void)
{
	int err;

	err = bt_le_adv_stop();
	if (err) {
		LOG_ERR("bt_le_adv_stop: %d", err);
	}

	bt_conn_foreach(BT_CONN_TYPE_LE, ble_disconnect, NULL);
}

static int ble_setup(void)
{
	int err;

	err = bt_enable(NULL);
	if (err) {
		LOG_ERR("Bluetooth init failed (err %d)", err);
		return -EIO;
	}

	LOG_INF("Bluetooth initialized");

	if (IS_ENABLED(CONFIG_SETTINGS)) {
		settings_load();
	}

	k_work_submit(&adv_work);

	return 0;
}
SYS_INIT(ble_setup, APPLICATION, 99);
```

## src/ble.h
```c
void ble_stop(void);
```

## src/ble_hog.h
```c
#include <zephyr/bluetooth/addr.h>
#include <zephyr/device.h>

void ble_hog_set_peer(const struct device *dev, const bt_addr_le_t *peer);
```
